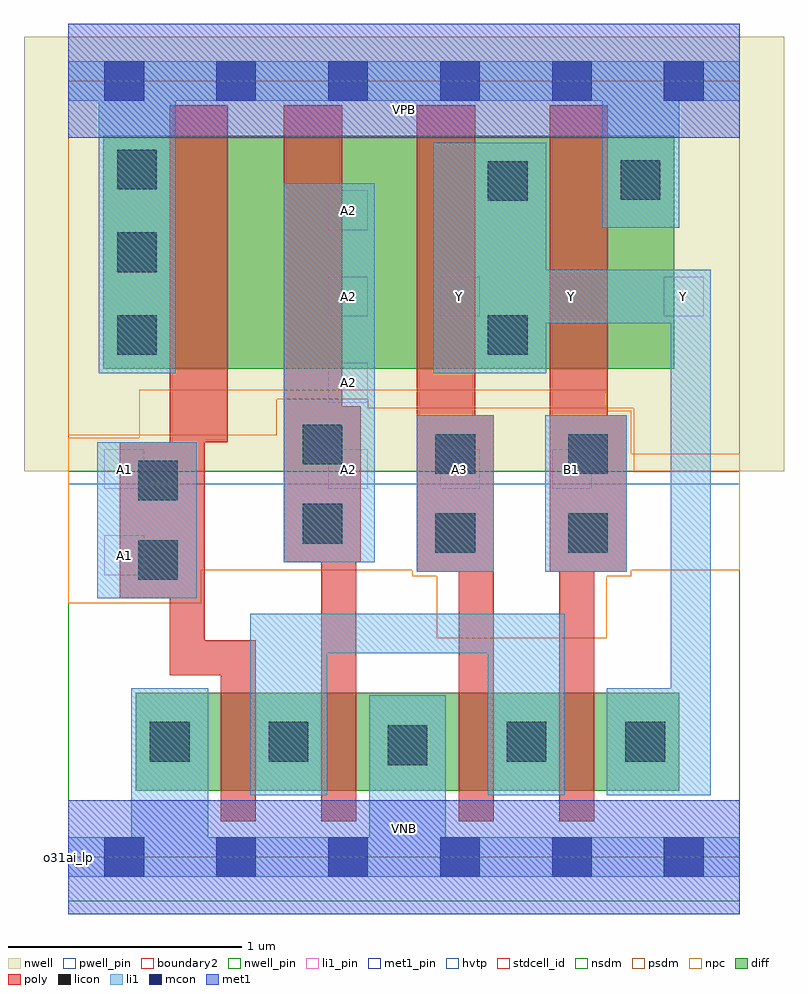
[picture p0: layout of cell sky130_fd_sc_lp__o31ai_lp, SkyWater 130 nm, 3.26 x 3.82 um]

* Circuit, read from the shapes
.subckt sky130_fd_sc_lp__o31ai_lp A1 A2 A3 B1 VGND VNB VPB VPWR Y
XM1 n1 A1 VGND VNB sky130_fd_pr__nfet_01v8 w=0.42 l=0.15
XM2 VGND A2 n1 VNB sky130_fd_pr__nfet_01v8 w=0.42 l=0.15
XM3 n1 A3 VGND VNB sky130_fd_pr__nfet_01v8 w=0.42 l=0.15
XM4 Y B1 n1 VNB sky130_fd_pr__nfet_01v8 w=0.42 l=0.15
XM5 n2 A1 VPWR VPB sky130_fd_pr__pfet_01v8_hvt w=1 l=0.25
XM6 n3 A2 n2 VPB sky130_fd_pr__pfet_01v8_hvt w=1 l=0.25
XM7 Y A3 n3 VPB sky130_fd_pr__pfet_01v8_hvt w=1 l=0.25
XM8 VPWR B1 Y VPB sky130_fd_pr__pfet_01v8_hvt w=1 l=0.25
.ends

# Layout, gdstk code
import gdstk
lib = gdstk.Library(unit=1e-6, precision=1e-09)
def R(c, l, rs):  # rectangles x0, y0, x1, y1
    for r in rs: c.add(gdstk.rectangle(r[:2], r[2:], *l))
def A(c, l, x, y, w, h, nx, ny, dx, dy):  # array of equal rectangles
    R(c, l, [(x+i*dx, y+j*dy, x+i*dx+w, y+j*dy+h) for i in range(nx) for j in range(ny)])
def P(c, l, *ps):  # polygons
    for p in ps: c.add(gdstk.Polygon(p, *l))
nwell_pin = (64, 16)
nwell = (64, 20)
diff = (65, 20)
poly = (66, 20)
licon = (66, 44)
li1_pin = (67, 16)
li1 = (67, 20)
mcon = (67, 44)
met1_pin = (68, 16)
met1 = (68, 20)
hvtp = (78, 44)
stdcell_id = (81, 4)
nsdm = (93, 44)
psdm = (94, 20)
npc = (95, 20)
pwell_pin = (122, 16)
boundary2 = (236, 0)

sky130_fd_sc_lp__o31ai_l = lib.new_cell('sky130_fd_sc_lp__o31ai_lp')
R(sky130_fd_sc_lp__o31ai_l, nwell_pin, [(0,3.085,2.88,3.33)])
R(sky130_fd_sc_lp__o31ai_l, nwell, [(-0.19,1.655,3.07,3.52)])
R(sky130_fd_sc_lp__o31ai_l, diff, [(0.29,0.285,2.62,0.705), (0.15,2.095,2.6,3.095)])
P(sky130_fd_sc_lp__o31ai_l, poly, [(0.805,0.93),(0.585,0.93),(0.585,1.78),(0.685,1.78),(0.685,3.225),(0.435,3.225),(0.435,1.78),(0.22,1.78),(0.22,1.11),(0.435,1.11),(0.435,0.78),(0.655,0.78),(0.655,0.155),(0.805,0.155)],
  [(1.255,1.935),(1.175,1.935),(1.175,3.225),(0.925,3.225),(0.925,1.265),(1.085,1.265),(1.085,0.155),(1.235,0.155),(1.235,1.265),(1.255,1.265)],
  [(1.825,1.895),(1.745,1.895),(1.745,3.225),(1.495,3.225),(1.495,1.225),(1.675,1.225),(1.675,0.155),(1.825,0.155)],
  [(2.395,1.895),(2.315,1.895),(2.315,3.225),(2.065,3.225),(2.065,1.225),(2.105,1.225),(2.105,0.155),(2.255,0.155),(2.255,1.225),(2.395,1.225)])
A(sky130_fd_sc_lp__o31ai_l, licon, 0.21, 2.155, 0.17, 0.17, 1, 3, 0, 0.355)
R(sky130_fd_sc_lp__o31ai_l, licon, [(1.37,0.395,1.54,0.565), (0.35,0.41,0.52,0.58), (0.86,0.41,1.03,0.58), (1.88,0.41,2.05,0.58), (2.39,0.41,2.56,0.58), (0.3,1.19,0.47,1.36), (1.575,1.305,1.745,1.475), (2.145,1.305,2.315,1.475), (1.005,1.345,1.175,1.515), (0.3,1.53,0.47,1.7), (1.575,1.645,1.745,1.815), (2.145,1.645,2.315,1.815), (1.005,1.685,1.175,1.855), (1.8,2.155,1.97,2.325), (1.8,2.815,1.97,2.985), (2.37,2.82,2.54,2.99)])
A(sky130_fd_sc_lp__o31ai_l, li1_pin, 1.115, 1.58, 0.17, 0.17, 3, 1, 0.48, 0)
A(sky130_fd_sc_lp__o31ai_l, li1_pin, 1.115, 2.32, 0.17, 0.17, 4, 1, 0.48, 0)
R(sky130_fd_sc_lp__o31ai_l, li1_pin, [(0.155,1.21,0.325,1.38), (0.155,1.58,0.325,1.75), (1.115,1.95,1.285,2.12), (1.115,2.69,1.285,2.86)])
R(sky130_fd_sc_lp__o31ai_l, li1, [(0.125,1.11,0.55,1.78), (1.495,1.225,1.825,1.895), (2.045,1.225,2.395,1.895), (0.925,1.265,1.315,2.89)])
P(sky130_fd_sc_lp__o31ai_l, li1, [(1.8,0.265),(1.8,0.875),(1.11,0.875),(1.11,0.265),(0.78,0.265),(0.78,1.045),(2.13,1.045),(2.13,0.265)],
  [(2.29,2.7),(2.29,3.245),(0.46,3.245),(0.46,2.075),(0.13,2.075),(0.13,3.245),(0,3.245),(0,3.415),(2.88,3.415),(2.88,3.245),(2.62,3.245),(2.62,2.7)],
  [(1.29,0.085),(1.29,0.695),(1.62,0.695),(1.62,0.085),(2.88,0.085),(2.88,-0.085),(0,-0.085),(0,0.085),(0.27,0.085),(0.27,0.725),(0.6,0.725),(0.6,0.085)],
  [(1.565,3.065),(2.05,3.065),(2.05,2.52),(2.755,2.52),(2.755,0.265),(2.31,0.265),(2.31,0.725),(2.585,0.725),(2.585,2.29),(2.05,2.29),(2.05,2.075),(1.565,2.075)])
A(sky130_fd_sc_lp__o31ai_l, mcon, 0.155, -0.085, 0.17, 0.17, 6, 2, 0.48, 3.33)
R(sky130_fd_sc_lp__o31ai_l, met1_pin, [(0,0,2.88,0.245), (0,3.085,2.88,3.33)])
R(sky130_fd_sc_lp__o31ai_l, met1, [(0,-0.245,2.88,0.245), (0,3.085,2.88,3.575)])
R(sky130_fd_sc_lp__o31ai_l, hvtp, [(0,1.6,2.88,3.33)])
R(sky130_fd_sc_lp__o31ai_l, stdcell_id, [(0,0,2.88,3.33)])
R(sky130_fd_sc_lp__o31ai_l, nsdm, [(0,-0.19,2.88,1.655)])
P(sky130_fd_sc_lp__o31ai_l, psdm, [(2.88,3.52),(0,3.52),(0,1.81),(0.895,1.81),(0.895,1.965),(1.285,1.965),(1.285,1.925),(2.425,1.925),(2.425,1.655),(2.88,1.655)])
P(sky130_fd_sc_lp__o31ai_l, npc, [(2.88,1.73),(2.415,1.73),(2.415,1.915),(2.31,1.915),(2.31,2.005),(0.305,2.005),(0.305,1.8),(0,1.8),(0,1.09),(0.57,1.09),(0.57,1.23),(1.475,1.23),(1.475,1.205),(1.58,1.205),(1.58,0.94),(2.31,0.94),(2.31,1.205),(2.415,1.205),(2.415,1.23),(2.88,1.23)])
R(sky130_fd_sc_lp__o31ai_l, pwell_pin, [(0,0,2.88,0.245)])
R(sky130_fd_sc_lp__o31ai_l, boundary2, [(0,0,2.88,3.33)])
sky130_fd_sc_lp__o31ai_l.add(gdstk.Label('VNB', (1.44,0.123), layer=64, texttype=59))
sky130_fd_sc_lp__o31ai_l.add(gdstk.Label('VPB', (1.44,3.208), layer=64, texttype=5))
sky130_fd_sc_lp__o31ai_l.add(gdstk.Label('o31ai_lp', (0,0), layer=83, texttype=44))
sky130_fd_sc_lp__o31ai_l.add(gdstk.Label('VPWR', (1.44,3.208), layer=68, texttype=5))
sky130_fd_sc_lp__o31ai_l.add(gdstk.Label('VGND', (1.44,0.123), layer=68, texttype=5))
sky130_fd_sc_lp__o31ai_l.add(gdstk.Label('B1', (2.16,1.665), layer=67, texttype=5))
sky130_fd_sc_lp__o31ai_l.add(gdstk.Label('A1', (0.24,1.295), layer=67, texttype=5))
sky130_fd_sc_lp__o31ai_l.add(gdstk.Label('A1', (0.24,1.665), layer=67, texttype=5))
sky130_fd_sc_lp__o31ai_l.add(gdstk.Label('A3', (1.68,1.665), layer=67, texttype=5))
sky130_fd_sc_lp__o31ai_l.add(gdstk.Label('Y', (1.68,2.405), layer=67, texttype=5))
sky130_fd_sc_lp__o31ai_l.add(gdstk.Label('Y', (2.16,2.405), layer=67, texttype=5))
sky130_fd_sc_lp__o31ai_l.add(gdstk.Label('Y', (2.64,2.405), layer=67, texttype=5))
sky130_fd_sc_lp__o31ai_l.add(gdstk.Label('A2', (1.2,1.665), layer=67, texttype=5))
sky130_fd_sc_lp__o31ai_l.add(gdstk.Label('A2', (1.2,2.035), layer=67, texttype=5))
sky130_fd_sc_lp__o31ai_l.add(gdstk.Label('A2', (1.2,2.405), layer=67, texttype=5))
sky130_fd_sc_lp__o31ai_l.add(gdstk.Label('A2', (1.2,2.775), layer=67, texttype=5))

lib.write_gds('sky130_fd_sc_lp__o31ai_lp.gds')
